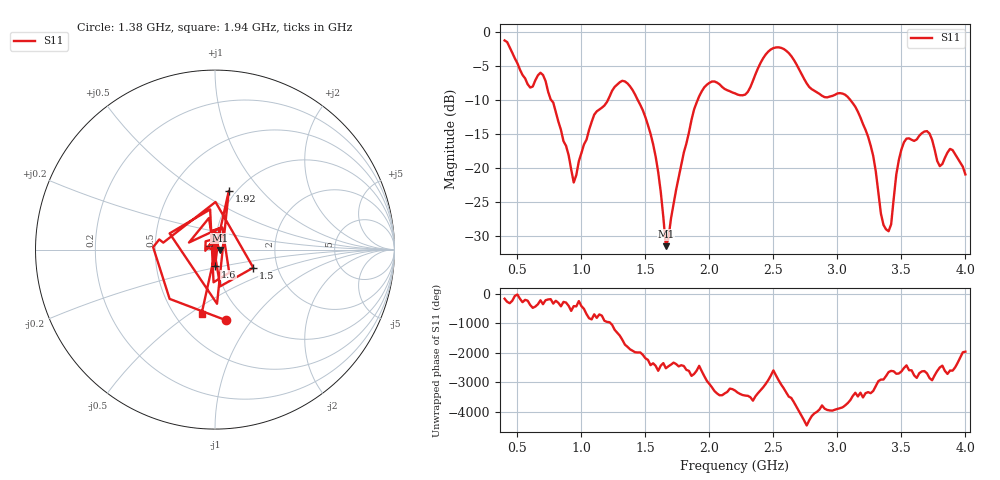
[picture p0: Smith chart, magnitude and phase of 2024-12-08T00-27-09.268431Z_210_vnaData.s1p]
!Created with skrf (http://scikit-rf.org).
# Hz S RI R 50.0
!freq ReS11 ImS11
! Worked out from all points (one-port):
!   181 points, 400 MHz to 4 GHz, reference 50 ohm
!   lowest |S11| = -31.4 dB at 1.66 GHz (marker M1), VSWR 1.06, Z = 52.8 - j0.213 ohm
!   |S11| at or under -10 dB: 763 MHz to 1.208 GHz (444.7 MHz wide, 45.1 % of centre); 1.44 GHz to 1.909 GHz (469.1 MHz wide, 28 % of centre); 3.101 GHz to end of sweep
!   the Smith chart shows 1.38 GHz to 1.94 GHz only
!   S11 on the Smith chart (normalised r, x): 1.38 GHz: 0.81, -0.76; 1.5 GHz: 1.50, -0.32; 1.6 GHz: 0.98, -0.19; 1.92 GHz: 0.93, +0.68; 1.94 GHz: 0.68, -0.56
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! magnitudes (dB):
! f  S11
! 400 MHz  -1.3
! 600 MHz  -8.2
! 700 MHz  -6.4
! 860 MHz  -16.0
! 940 MHz  -22.1
! 1.1 GHz  -12.2
! 1.3 GHz  -7.4
! 1.38 GHz  -8.0
! 1.5 GHz  -12.5
! 1.6 GHz  -20.6
! 1.66 GHz  -31.4
! 1.76 GHz  -21.3
! 1.92 GHz  -9.5
! 1.94 GHz  -8.7
! 2.2 GHz  -9.0
! 2.48 GHz  -2.6
! 2.66 GHz  -4.1
! 2.8 GHz  -8.4
! 3.1 GHz  -10.0
! 3.24 GHz  -15.4
! 3.34 GHz  -26.7
! 3.4 GHz  -29.2
! 3.48 GHz  -18.8
! 3.56 GHz  -15.6
! 3.7 GHz  -14.6
! 3.8 GHz  -19.7
! 3.88 GHz  -17.2
! 4 GHz  -20.9
